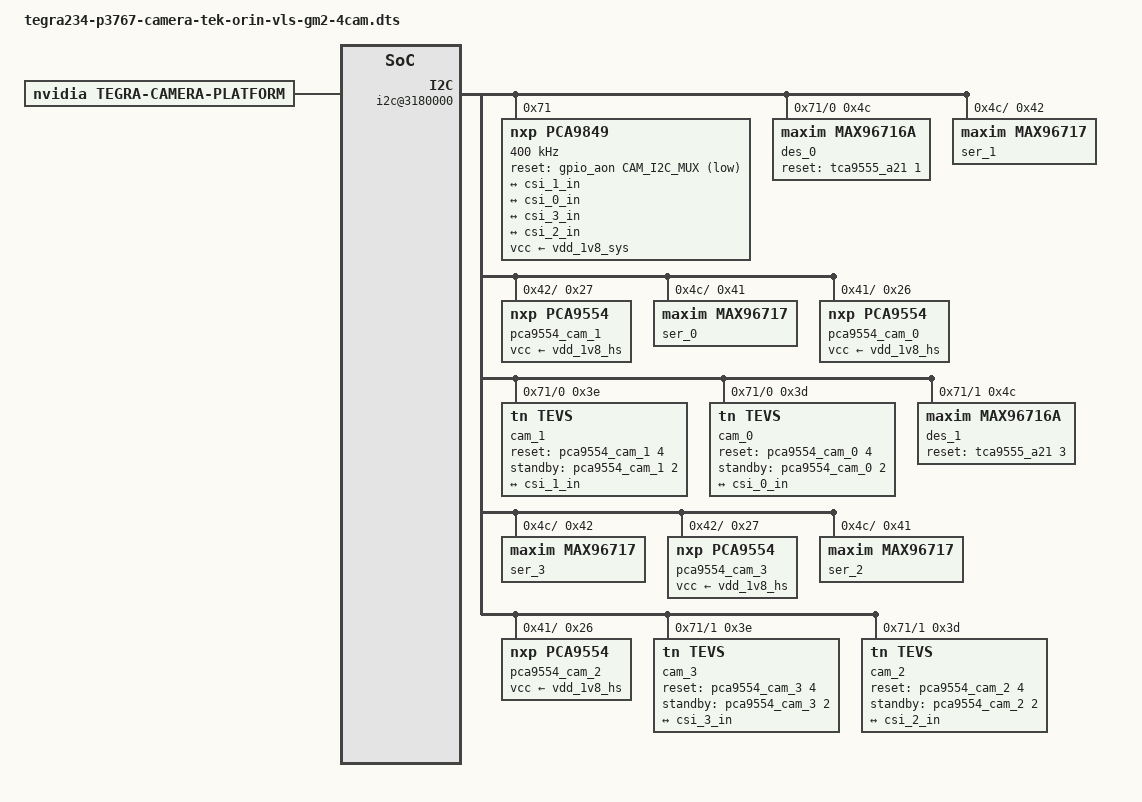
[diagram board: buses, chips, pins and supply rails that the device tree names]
// SPDX-License-Identifier: GPL-2.0-only
// SPDX-FileCopyrightText: Copyright (c) 2023, NVIDIA CORPORATION & AFFILIATES. All rights reserved.

/dts-v1/;
/plugin/;

#include <dt-bindings/tegra234-p3767-0000-common.h>

#define CAM0_RST        TEGRA234_MAIN_GPIO(H, 3)
#define CAM_I2C_MUX 	TEGRA234_AON_GPIO(CC, 3)

#define CAM_NUM					4

#define CAM0_PORT 				0
#define CAM0_LANES 				4
#define CAM0_VC_ID 				0
#define CAM0_LANES_STRING 		"4"
#define CAM0_SINTERFACE			"serial_a"
#define CAM0_LANE_POLARITY		"6"
#define CAM0_PIXEL_CLK			"200000000"
#define CAM0_SERDES_PIXEL_CLK	"625000000"
#define CAM0_DES_PHY_ID			0

#define CAM1_PORT 				0
#define CAM1_LANES 				4
#define CAM1_VC_ID 				1
#define CAM1_LANES_STRING 		"4"
#define CAM1_SINTERFACE			"serial_b"
#define CAM1_LANE_POLARITY		"6"
#define CAM1_PIXEL_CLK			"200000000"
#define CAM1_SERDES_PIXEL_CLK	"625000000"
#define CAM1_DES_PHY_ID			0

#define CAM2_PORT 				2
#define CAM2_LANES 				4
#define CAM2_VC_ID 				0
#define CAM2_LANES_STRING 		"4"
#define CAM2_SINTERFACE			"serial_c"
#define CAM2_LANE_POLARITY		"0"
#define CAM2_PIXEL_CLK			"200000000"
#define CAM2_SERDES_PIXEL_CLK	"625000000"
#define CAM2_DES_PHY_ID			0

#define CAM3_PORT 				2
#define CAM3_LANES 				4
#define CAM3_VC_ID 				1
#define CAM3_LANES_STRING 		"4"
#define CAM3_SINTERFACE			"serial_d"
#define CAM3_LANE_POLARITY		"0"
#define CAM3_PIXEL_CLK			"200000000"
#define CAM3_SERDES_PIXEL_CLK	"625000000"
#define CAM3_DES_PHY_ID			0

#define DES_LINK_FREQ			1250000000
#define TEVS_LINK_FREQ			400000000

#define TEVS_MODE_COMMON(LANES, SINTERFACE, LANE_POLARITY, PIXEL_CLK, SERDES_PIXEL_CLK)	\
	mclk_khz = "24000";							\
	num_lanes = LANES;							\
	tegra_sinterface = SINTERFACE;				\
	lane_polarity = LANE_POLARITY;				\
	phy_mode = "DPHY";							\
	discontinuous_clk = "yes";					\
	dpcm_enable = "false";						\
	cil_settletime = "0";						\
	mode_type = "yuv";							\
	pixel_phase = "uyvy";						\
	csi_pixel_bit_depth = "16";					\
	readout_orientation = "90";					\
	line_length = "3448";						\
	inherent_gain = "1";						\
	mclk_multiplier = "9.33";					\
	pix_clk_hz = PIXEL_CLK;						\
	serdes_pix_clk_hz = SERDES_PIXEL_CLK;		\
	gain_factor = "16";							\
	framerate_factor = "1000000";				\
	exposure_factor = "1000000";				\
	min_gain_val = "16";						\
	max_gain_val = "170";						\
	step_gain_val = "1";						\
	default_gain = "16";						\
	min_hdr_ratio = "1";						\
	max_hdr_ratio = "1";						\
	min_framerate = "2000000";					\
	step_framerate = "1";						\
	min_exp_time = "13";						\
	max_exp_time = "683709";					\
	step_exp_time = "1";						\
	default_exp_time = "2495";					\
	embedded_metadata_height = "0";

#define TEVS_MODES(LANES, SINTERFACE, LANE_POLARITY, PIXEL_CLK, SERDES_PIXEL_CLK)	\
	mode0 {										\
		TEVS_MODE_COMMON(LANES, SINTERFACE, LANE_POLARITY, PIXEL_CLK, SERDES_PIXEL_CLK)	\
		active_w = "3280";						\
		active_h = "2464";						\
		max_framerate = "21000000";				\
		default_framerate = "21000000";			\
	};											\
	mode1 {										\
		TEVS_MODE_COMMON(LANES, SINTERFACE, LANE_POLARITY, PIXEL_CLK, SERDES_PIXEL_CLK)	\
		active_w = "3280";						\
		active_h = "1848";						\
		max_framerate = "28000000";				\
		default_framerate = "28000000";			\
	};											\
	mode2 {										\
		TEVS_MODE_COMMON(LANES, SINTERFACE, LANE_POLARITY, PIXEL_CLK, SERDES_PIXEL_CLK)	\
		active_w = "1920";						\
		active_h = "1080";						\
		max_framerate = "30000000";				\
		default_framerate = "30000000";			\
	};											\
	mode3 {										\
		TEVS_MODE_COMMON(LANES, SINTERFACE, LANE_POLARITY, PIXEL_CLK, SERDES_PIXEL_CLK)	\
		active_w = "1640";						\
		active_h = "1232";						\
		max_framerate = "30000000";				\
		default_framerate = "30000000";			\
	};											\
	mode4 {										\
		TEVS_MODE_COMMON(LANES, SINTERFACE, LANE_POLARITY, PIXEL_CLK, SERDES_PIXEL_CLK)	\
		active_w = "1280";						\
		active_h = "720";						\
		max_framerate = "60000000";				\
		default_framerate = "60000000";			\
	};											\
	mode5 {										\
		TEVS_MODE_COMMON(LANES, SINTERFACE, LANE_POLARITY, PIXEL_CLK, SERDES_PIXEL_CLK)	\
		active_w = "640";						\
		active_h = "480";						\
		max_framerate = "60000000";				\
		default_framerate = "60000000";			\
	};

/ {
	overlay-name = "TechNexion VLS-GM2 4 Cameras with Pixel Mode";
	jetson-header-name = "Jetson 24pin CSI Connector";
	compatible = JETSON_COMPATIBLE_P3768;

	fragment-camera-tevs@0 {
		target-path = "/";
		__overlay__ {
			tegra-capture-vi  {
				num-channels = <CAM_NUM>;
				ports {
					#address-cells = <1>;
					#size-cells = <0>;

					vi_port0: port@0 {
						status = "okay";
						reg = <0>;

						vi_in0: endpoint {
							status = "okay";
							vc-id = <CAM0_VC_ID>;
							port-index = <CAM0_PORT>;
							bus-width = <CAM0_LANES>;
							remote-endpoint = <&csi_0_out>;
						};
					};

					vi_port1: port@1 {
						status = "okay";
						reg = <1>;

						vi_in1: endpoint {
							status = "okay";
							vc-id = <CAM1_VC_ID>;
							port-index = <CAM1_PORT>;
							bus-width = <CAM1_LANES>;
							remote-endpoint = <&csi_1_out>;
						};
					};

					vi_port2: port@2 {
						status = "okay";
						reg = <2>;

						vi_in2: endpoint {
							status = "okay";
							vc-id = <CAM2_VC_ID>;
							port-index = <CAM2_PORT>;
							bus-width = <CAM2_LANES>;
							remote-endpoint = <&csi_2_out>;
						};
					};

					vi_port3: port@3 {
						status = "okay";
						reg = <3>;

						vi_in3: endpoint {
							status = "okay";
							vc-id = <CAM3_VC_ID>;
							port-index = <CAM3_PORT>;
							bus-width = <CAM3_LANES>;
							remote-endpoint = <&csi_3_out>;
						};
					};
				};
			};

			tegra-camera-platform {
				compatible = "nvidia, tegra-camera-platform";

				num_csi_lanes = <8>;
				max_lane_speed = <2500000>;
				min_bits_per_pixel = <16>;
				vi_peak_byte_per_pixel = <2>;
				vi_bw_margin_pct = <67>;

				modules {
					status = "okay";
					module0 {
						status = "okay";
						badge = "tevs_rear";
						position = "rear";
						orientation = "1";
						drivernode0 {
							status = "okay";
							pcl_id = "v4l2_sensor";
							sysfs-device-tree = "/sys/firmware/devicetree/base/bus@0/i2c@3180000/pca9849@71/i2c@0/rpi22_tevs_a@3d";
						};
					};

					module1 {
						status = "okay";
						badge = "tevs_front";
						position = "front";
						orientation = "1";
						drivernode0 {
							status = "okay";
							pcl_id = "v4l2_sensor";
							sysfs-device-tree = "/sys/firmware/devicetree/base/bus@0/i2c@3180000/pca9849@71/i2c@0/rpi22_tevs_b@3e";
						};
					};

					module2 {
						status = "okay";
						badge = "tevs_left";
						position = "left";
						orientation = "1";
						drivernode0 {
							status = "okay";
							pcl_id = "v4l2_sensor";
							sysfs-device-tree = "/sys/firmware/devicetree/base/bus@0/i2c@3180000/pca9849@71/i2c@1/rpi22_tevs_c@3d";
						};
					};

					module3 {
						status = "okay";
						badge = "tevs_right";
						position = "right";
						orientation = "1";
						drivernode0 {
							status = "okay";
							pcl_id = "v4l2_sensor";
							sysfs-device-tree = "/sys/firmware/devicetree/base/bus@0/i2c@3180000/pca9849@71/i2c@1/rpi22_tevs_d@3e";
						};
					};
				};
			};

			bus@0 {
				host1x@13e00000 {
					nvcsi@15a00000 {
						#address-cells = <1>;
						#size-cells = <0>;

						num-channels = <CAM_NUM>;

						channel@0 {
							status = "okay";
							reg = <0>;
							ports {
								#address-cells = <1>;
								#size-cells = <0>;
								status = "okay";

								port@0 {
									status = "okay";
									reg = <0>;
									csi_0_in: endpoint@0 {
										status = "okay";
										port-index = <CAM0_PORT>;
										bus-width = <CAM0_LANES>;
										remote-endpoint = <&rpi22_tevs_0_out>;
									};
								};

								port@1 {
									status = "okay";
									reg = <1>;
									csi_0_out: endpoint@1 {
										status = "okay";
										remote-endpoint = <&vi_in0>;
									};
								};
							};
						};

						channel@1 {
							status = "okay";
							reg = <1>;
							ports {
								#address-cells = <1>;
								#size-cells = <0>;
								status = "okay";

								port@0 {
									status = "okay";
									reg = <0>;
									csi_1_in: endpoint@2 {
										status = "okay";
										port-index = <CAM1_PORT>;
										bus-width = <CAM1_LANES>;
										remote-endpoint = <&rpi22_tevs_1_out>;
									};
								};

								port@1 {
									status = "okay";
									reg = <1>;
									csi_1_out: endpoint@3 {
										status = "okay";
										remote-endpoint = <&vi_in1>;
									};
								};
							};
						};

						channel@2 {
							status = "okay";
							reg = <2>;
							ports {
								#address-cells = <1>;
								#size-cells = <0>;
								status = "okay";

								port@0 {
									status = "okay";
									reg = <0>;
									csi_2_in: endpoint@4 {
										status = "okay";
										port-index = <CAM2_PORT>;
										bus-width = <CAM2_LANES>;
										remote-endpoint = <&rpi22_tevs_2_out>;
									};
								};

								port@1 {
									status = "okay";
									reg = <1>;
									csi_2_out: endpoint@5 {
										status = "okay";
										remote-endpoint = <&vi_in2>;
									};
								};
							};
						};

						channel@3 {
							status = "okay";
							reg = <3>;
							ports {
								#address-cells = <1>;
								#size-cells = <0>;
								status = "okay";

								port@0 {
									status = "okay";
									reg = <0>;
									csi_3_in: endpoint@6 {
										status = "okay";
										port-index = <CAM3_PORT>;
										bus-width = <CAM3_LANES>;
										remote-endpoint = <&rpi22_tevs_3_out>;
									};
								};

								port@1 {
									status = "okay";
									reg = <1>;
									csi_3_out: endpoint@7 {
										status = "okay";
										remote-endpoint = <&vi_in3>;
									};
								};
							};
						};
					};
				};

				gpio@2200000 {
					camera-control-output-low {
						status = "disabled";
						gpio-hog;
						output-low;
						gpios = <CAM0_RST 0>;
						label = "cam0-rst";
					};
				};

				i2c@3180000 { /* cam_i2c */
					pca9849@71 {
						status = "okay";
						clock-frequency = <400000>;
						compatible = "nxp,pca9849";
						reg = <0x71>;
						#address-cells = <1>;
						#size-cells = <0>;
						reset-gpios = <&gpio_aon CAM_I2C_MUX GPIO_ACTIVE_LOW>;
						skip_mux_detect;
						vcc-supply = <&vdd_1v8_sys>;
						vcc_lp = "vcc";

						cam_i2c_0:i2c@0 {  // i2c-9
							status = "okay";
							reg = <0>;
							i2c-mux,deselect-on-exit;
							#address-cells = <1>;
							#size-cells = <0>;

							vls3@33 {
								status = "disabled";
							};

							vls3@32 {
								status = "disabled";
							};

							vls3@31 {
								status = "disabled";
							};

							vls3@30 {
								status = "disabled";
							};

							rpi22_tevs_d@4b {
								status = "disabled";
							};

							rpi22_tevs_c@4a {
								status = "disabled";
							};

							rpi22_tevs_b@49 {
								status = "disabled";
							};

							rpi22_tevs_a@48 {
								status = "disabled";
							};
						};

						cam_i2c_1:i2c@1 {   // i2c-10
							status = "okay";
							reg = <1>;
							i2c-mux,deselect-on-exit;
							#address-cells = <1>;
							#size-cells = <0>;

							vls3@33 {
								status = "disabled";
							};

							vls3@32 {
								status = "disabled";
							};

							vls3@31 {
								status = "disabled";
							};

							vls3@30 {
								status = "disabled";
							};

							rpi22_tevs_h@4b {
								status = "disabled";
							};

							rpi22_tevs_g@4a {
								status = "disabled";
							};

							rpi22_tevs_f@49 {
								status = "disabled";
							};

							rpi22_tevs_e@48 {
								status = "disabled";
							};
						};
					};
				};
			};
		};
	};
};

&cam_i2c_0 {
	des_0: gmsl-deserializer@4c {
		status = "okay";
		#address-cells = <1>;
		#size-cells = <0>;
		compatible = "maxim,max96716a";
		reg = <0x4c>;

		reset-gpios = <&tca9555_a21 1 GPIO_ACTIVE_HIGH>;

		//i2c addr alias map "serializer0, serializer1"
		i2c-addr-alias-map-local = <0x42 0x41>;
		i2c-addr-alias-map-remote = <0x40 0x40>;
		i2c-addr-alias-source-id = <0 1>;

		gpio-controller;
		#gpio-cells = <2>;
		gpio-ranges = <&des_0 0 0 12>;

		i2c-mux {
			#address-cells = <1>;
			#size-cells = <0>;

			compatible = "i2c-mux-gpio";
			i2c-parent = <&cam_i2c>;
			mux-gpios = <&gpio_aon CAM_I2C_MUX GPIO_ACTIVE_HIGH>;

			des_0_i2c_0: i2c@0 {
				#address-cells = <1>;
				#size-cells = <0>;

				reg = <0>;
			};

			des_0_i2c_1: i2c@1 {
				#address-cells = <1>;
				#size-cells = <0>;

				reg = <1>;
			};
		};

		phy@0 {
			reg = <0>;
		};

		pipe@0 {
			reg = <0>;

			maxim,phy-id = <CAM1_DES_PHY_ID>;
			maxim,link-id = <1>;
		};

		pipe@1 {
			reg = <1>;

			maxim,phy-id = <CAM0_DES_PHY_ID>;
			maxim,link-id = <0>;
		};

		channel@1 {
			reg = <1>;
			label = "des_0_ch_1";

			maxim,phy-id = <CAM1_DES_PHY_ID>;
			maxim,pipe-id = <1>;

			clock-lanes = <0>;
			data-lanes = <1 2>;
			link-frequencies = /bits/ 64 <DES_LINK_FREQ>;
		};

		channel@0 {
			reg = <0>;
			label = "des_0_ch_0";

			maxim,phy-id = <CAM0_DES_PHY_ID>;
			maxim,pipe-id = <0>;

			clock-lanes = <0>;
			data-lanes = <1 2>;
			link-frequencies = /bits/ 64 <DES_LINK_FREQ>;
		};
	};

	cam_1: rpi22_tevs_b@3e {
		compatible = "tn,tevs";
		/* I2C device address */
		reg = <0x3e>;
		status = "okay";

		reset-gpios = <&pca9554_cam_1 4 GPIO_ACTIVE_HIGH>;
		standby-gpios = <&pca9554_cam_1 2 GPIO_ACTIVE_HIGH>;

		/* V4L2 device node location */
		devnode = "video1";
		/* Physical dimensions of sensor */
		physical_w = "3.680";
		physical_h = "2.760";
		sensor_model = "tevs";
		use_sensor_mode_id = "false";

		TEVS_MODES(CAM1_LANES_STRING, CAM1_SINTERFACE, CAM1_LANE_POLARITY, CAM1_PIXEL_CLK, CAM1_SERDES_PIXEL_CLK)

		ports {
			#address-cells = <1>;
			#size-cells = <0>;
			port@0 {
				reg = <0>;

				rpi22_tevs_1_out: endpoint {
					port-index = <CAM1_PORT>;
					bus-width = <CAM1_LANES>;
					remote-endpoint = <&csi_1_in>;
					clock-noncontinuous;
					link-frequencies = /bits/ 64 <TEVS_LINK_FREQ>;
				};
			};
		};
	};

	cam_0: rpi22_tevs_a@3d {
		compatible = "tn,tevs";
		/* I2C device address */
		reg = <0x3d>;
		status = "okay";

		reset-gpios = <&pca9554_cam_0 4 GPIO_ACTIVE_HIGH>;
		standby-gpios = <&pca9554_cam_0 2 GPIO_ACTIVE_HIGH>;

		/* V4L2 device node location */
		devnode = "video0";
		/* Physical dimensions of sensor */
		physical_w = "3.680";
		physical_h = "2.760";
		sensor_model = "tevs";
		use_sensor_mode_id = "false";

		TEVS_MODES(CAM0_LANES_STRING, CAM0_SINTERFACE, CAM0_LANE_POLARITY, CAM0_PIXEL_CLK, CAM0_SERDES_PIXEL_CLK)

		ports {
			#address-cells = <1>;
			#size-cells = <0>;
			port@0 {
				reg = <0>;

				rpi22_tevs_0_out: endpoint {
					port-index = <CAM0_PORT>;
					bus-width = <CAM0_LANES>;
					remote-endpoint = <&csi_0_in>;
					clock-noncontinuous;
					link-frequencies = /bits/ 64 <TEVS_LINK_FREQ>;
				};
			};
		};
	};
};

&des_0_i2c_0 {
	ser_1: gmsl-serializer@42 {
		status = "okay";
		#address-cells = <1>;
		#size-cells = <0>;
		compatible = "maxim,max96717";
		reg = <0x42>;

		// i2c addr alias map "sensor, gpio expander"
		i2c-addr-alias-map-local = <0x3e 0x27>;
		i2c-addr-alias-map-remote = <0x48 0x25>;

		gpio-controller;
		#gpio-cells = <2>;
		gpio-ranges = <&ser_1 0 0 11>;

		pinctrl-names = "default";
		pinctrl-0 = <&ser_1_pinmux_default>;

		ser_1_pinmux_default: pinmux {
			mfp0_fsync {
				pins = "mfp0";
				function = "gpio";
				maxim,gmsl-rx = <1>;
				maxim,gmsl-rx-id = <0>;
				output-enable;
				output-low;
			};
		};

		i2c-mux {
			#address-cells = <1>;
			#size-cells = <0>;

			compatible = "i2c-mux-gpio";
			i2c-parent = <&cam_i2c>;
			mux-gpios = <&gpio_aon CAM_I2C_MUX GPIO_ACTIVE_HIGH>;

			ser_1_i2c_0: i2c@0 {
				#address-cells = <1>;
				#size-cells = <0>;

				reg = <0>;
			};
		};

		pipe@0 {
			reg = <0>;

			maxim,stream-id = <1>;
		};

		channel@0 {
			reg = <0>;
			label = "ser_1_ch_0";

			clock-lanes = <0>;
			data-lanes = <1 2 3 4>;
			clock-noncontinuous;
		};
	};
};

&ser_1_i2c_0 {
	pca9554_cam_1: pca9554@27 {
		compatible = "nxp,pca9554";
		reg = <0x27>;
		gpio-controller;
		#gpio-cells = <2>;
		gpio-line-names = "EXPOSURE_TRIG_IN",
						"FLASH_OUT",
						"INFO_TRIG_IN",
						"CAMA_SHUTTER",
						"CSI_P1_nRST",
						"PWR_TIME0",
						"PWR_TIME1",
						"3V3_EN";
		vcc-supply = <&vdd_1v8_hs>;
		vcc_lp = "vcc";
		status = "okay";
	};
};

&des_0_i2c_1 {
	ser_0: gmsl-serializer@41 {
		status = "okay";
		#address-cells = <1>;
		#size-cells = <0>;
		compatible = "maxim,max96717";
		reg = <0x41>;

		// i2c addr alias map "sensor, gpio expander"
		i2c-addr-alias-map-local = <0x3d 0x26>;
		i2c-addr-alias-map-remote = <0x48 0x25>;

		gpio-controller;
		#gpio-cells = <2>;
		gpio-ranges = <&ser_0 0 0 11>;

		pinctrl-names = "default";
		pinctrl-0 = <&ser_0_pinmux_default>;

		ser_0_pinmux_default: pinmux {
			mfp0_fsync {
				pins = "mfp0";
				function = "gpio";
				maxim,gmsl-rx = <1>;
				maxim,gmsl-rx-id = <0>;
				output-enable;
				output-low;
			};
		};

		i2c-mux {
			#address-cells = <1>;
			#size-cells = <0>;

			compatible = "i2c-mux-gpio";
			i2c-parent = <&cam_i2c>;
			mux-gpios = <&gpio_aon CAM_I2C_MUX GPIO_ACTIVE_HIGH>;

			ser_0_i2c_0: i2c@0 {
				#address-cells = <1>;
				#size-cells = <0>;

				reg = <0>;
			};
		};

		pipe@0 {
			reg = <0>;

			maxim,stream-id = <0>;
		};

		channel@0 {
			reg = <0>;
			label = "ser_0_ch_0";

			clock-lanes = <0>;
			data-lanes = <1 2 3 4>;
			clock-noncontinuous;
		};
	};
};

&ser_0_i2c_0 {
	pca9554_cam_0: pca9554@26 {
		compatible = "nxp,pca9554";
		reg = <0x26>;
		gpio-controller;
		#gpio-cells = <2>;
		gpio-line-names = "EXPOSURE_TRIG_IN",
						"FLASH_OUT",
						"INFO_TRIG_IN",
						"CAMA_SHUTTER",
						"CSI_P1_nRST",
						"PWR_TIME0",
						"PWR_TIME1",
						"3V3_EN";
		vcc-supply = <&vdd_1v8_hs>;
		vcc_lp = "vcc";
		status = "okay";
	};
};

&cam_i2c_1 {
	des_1: gmsl-deserializer@4c {
		status = "okay";
		#address-cells = <1>;
		#size-cells = <0>;
		compatible = "maxim,max96716a";
		reg = <0x4c>;

		reset-gpios = <&tca9555_a21 3 GPIO_ACTIVE_HIGH>;

		//i2c addr alias map "serializer0, serializer1"
		i2c-addr-alias-map-local = <0x42 0x41>;
		i2c-addr-alias-map-remote = <0x40 0x40>;
		i2c-addr-alias-source-id = <0 1>;

		gpio-controller;
		#gpio-cells = <2>;
		gpio-ranges = <&des_1 0 0 12>;

		i2c-mux {
			#address-cells = <1>;
			#size-cells = <0>;

			compatible = "i2c-mux-gpio";
			i2c-parent = <&cam_i2c>;
			mux-gpios = <&gpio_aon CAM_I2C_MUX GPIO_ACTIVE_HIGH>;

			des_1_i2c_0: i2c@0 {
				#address-cells = <1>;
				#size-cells = <0>;

				reg = <0>;
			};

			des_1_i2c_1: i2c@1 {
				#address-cells = <1>;
				#size-cells = <0>;

				reg = <1>;
			};
		};

		phy@0 {
			reg = <0>;
		};

		pipe@0 {
			reg = <0>;

			maxim,phy-id = <CAM3_DES_PHY_ID>;
			maxim,link-id = <1>;
		};

		pipe@1 {
			reg = <1>;

			maxim,phy-id = <CAM2_DES_PHY_ID>;
			maxim,link-id = <0>;
		};

		channel@1 {
			reg = <1>;
			label = "des_0_ch_1";

			maxim,phy-id = <CAM3_DES_PHY_ID>;
			maxim,pipe-id = <1>;

			clock-lanes = <0>;
			data-lanes = <1 2>;
			link-frequencies = /bits/ 64 <DES_LINK_FREQ>;
		};

		channel@0 {
			reg = <0>;
			label = "des_0_ch_0";

			maxim,phy-id = <CAM2_DES_PHY_ID>;
			maxim,pipe-id = <0>;

			clock-lanes = <0>;
			data-lanes = <1 2>;
			link-frequencies = /bits/ 64 <DES_LINK_FREQ>;
		};
	};

	cam_3: rpi22_tevs_d@3e {
		compatible = "tn,tevs";
		/* I2C device address */
		reg = <0x3e>;
		status = "okay";

		reset-gpios = <&pca9554_cam_3 4 GPIO_ACTIVE_HIGH>;
		standby-gpios = <&pca9554_cam_3 2 GPIO_ACTIVE_HIGH>;

		/* V4L2 device node location */
		devnode = "video3";
		/* Physical dimensions of sensor */
		physical_w = "3.680";
		physical_h = "2.760";
		sensor_model = "tevs";
		use_sensor_mode_id = "false";

		TEVS_MODES(CAM3_LANES_STRING, CAM3_SINTERFACE, CAM3_LANE_POLARITY, CAM3_PIXEL_CLK, CAM3_SERDES_PIXEL_CLK)

		ports {
			#address-cells = <1>;
			#size-cells = <0>;
			port@0 {
				reg = <0>;

				rpi22_tevs_3_out: endpoint {
					port-index = <CAM3_PORT>;
					bus-width = <CAM3_LANES>;
					remote-endpoint = <&csi_3_in>;
					clock-noncontinuous;
					link-frequencies = /bits/ 64 <TEVS_LINK_FREQ>;
				};
			};
		};
	};

	cam_2: rpi22_tevs_c@3d {
		compatible = "tn,tevs";
		/* I2C device address */
		reg = <0x3d>;
		status = "okay";

		reset-gpios = <&pca9554_cam_2 4 GPIO_ACTIVE_HIGH>;
		standby-gpios = <&pca9554_cam_2 2 GPIO_ACTIVE_HIGH>;

		/* V4L2 device node location */
		devnode = "video2";
		/* Physical dimensions of sensor */
		physical_w = "3.680";
		physical_h = "2.760";
		sensor_model = "tevs";
		use_sensor_mode_id = "false";

		TEVS_MODES(CAM2_LANES_STRING, CAM2_SINTERFACE, CAM2_LANE_POLARITY, CAM2_PIXEL_CLK, CAM2_SERDES_PIXEL_CLK)

		ports {
			#address-cells = <1>;
			#size-cells = <0>;
			port@0 {
				reg = <0>;

				rpi22_tevs_2_out: endpoint {
					port-index = <CAM2_PORT>;
					bus-width = <CAM2_LANES>;
					remote-endpoint = <&csi_2_in>;
					clock-noncontinuous;
					link-frequencies = /bits/ 64 <TEVS_LINK_FREQ>;
				};
			};
		};
	};
};

&des_1_i2c_0 {
	ser_3: gmsl-serializer@42 {
		status = "okay";
		#address-cells = <1>;
		#size-cells = <0>;
		compatible = "maxim,max96717";
		reg = <0x42>;

		// i2c addr alias map "sensor, gpio expander"
		i2c-addr-alias-map-local = <0x3e 0x27>;
		i2c-addr-alias-map-remote = <0x48 0x25>;

		gpio-controller;
		#gpio-cells = <2>;
		gpio-ranges = <&ser_3 0 0 11>;

		pinctrl-names = "default";
		pinctrl-0 = <&ser_3_pinmux_default>;

		ser_3_pinmux_default: pinmux {
			mfp0_fsync {
				pins = "mfp0";
				function = "gpio";
				maxim,gmsl-rx = <1>;
				maxim,gmsl-rx-id = <0>;
				output-enable;
				output-low;
			};
		};

		i2c-mux {
			#address-cells = <1>;
			#size-cells = <0>;

			compatible = "i2c-mux-gpio";
			i2c-parent = <&cam_i2c>;
			mux-gpios = <&gpio_aon CAM_I2C_MUX GPIO_ACTIVE_HIGH>;

			ser_3_i2c_0: i2c@0 {
				#address-cells = <1>;
				#size-cells = <0>;

				reg = <0>;
			};
		};

		pipe@0 {
			reg = <0>;

			maxim,stream-id = <1>;
		};

		channel@0 {
			reg = <0>;
			label = "ser_3_ch_0";

			clock-lanes = <0>;
			data-lanes = <1 2 3 4>;
			clock-noncontinuous;
		};
	};
};

&ser_3_i2c_0 {
	pca9554_cam_3: pca9554@27 {
		compatible = "nxp,pca9554";
		reg = <0x27>;
		gpio-controller;
		#gpio-cells = <2>;
		gpio-line-names = "EXPOSURE_TRIG_IN",
						"FLASH_OUT",
						"INFO_TRIG_IN",
						"CAMA_SHUTTER",
						"CSI_P1_nRST",
						"PWR_TIME0",
						"PWR_TIME1",
						"3V3_EN";
		vcc-supply = <&vdd_1v8_hs>;
		vcc_lp = "vcc";
		status = "okay";
	};
};

&des_1_i2c_1 {
	ser_2: gmsl-serializer@41 {
		status = "okay";
		#address-cells = <1>;
		#size-cells = <0>;
		compatible = "maxim,max96717";
		reg = <0x41>;

		// i2c addr alias map "sensor, gpio expander"
		i2c-addr-alias-map-local = <0x3d 0x26>;
		i2c-addr-alias-map-remote = <0x48 0x25>;

		gpio-controller;
		#gpio-cells = <2>;
		gpio-ranges = <&ser_2 0 0 11>;

		pinctrl-names = "default";
		pinctrl-0 = <&ser_2_pinmux_default>;

		ser_2_pinmux_default: pinmux {
			mfp0_fsync {
				pins = "mfp0";
				function = "gpio";
				maxim,gmsl-rx = <1>;
				maxim,gmsl-rx-id = <0>;
				output-enable;
				output-low;
			};
		};

		i2c-mux {
			#address-cells = <1>;
			#size-cells = <0>;

			compatible = "i2c-mux-gpio";
			i2c-parent = <&cam_i2c>;
			mux-gpios = <&gpio_aon CAM_I2C_MUX GPIO_ACTIVE_HIGH>;

			ser_2_i2c_0: i2c@0 {
				#address-cells = <1>;
				#size-cells = <0>;

				reg = <0>;
			};
		};

		pipe@0 {
			reg = <0>;

			maxim,stream-id = <0>;
		};

		channel@0 {
			reg = <0>;
			label = "ser_2_ch_0";

			clock-lanes = <0>;
			data-lanes = <1 2 3 4>;
			clock-noncontinuous;
		};
	};
};

&ser_2_i2c_0 {
	pca9554_cam_2: pca9554@26 {
		compatible = "nxp,pca9554";
		reg = <0x26>;
		gpio-controller;
		#gpio-cells = <2>;
		gpio-line-names = "EXPOSURE_TRIG_IN",
						"FLASH_OUT",
						"INFO_TRIG_IN",
						"CAMA_SHUTTER",
						"CSI_P1_nRST",
						"PWR_TIME0",
						"PWR_TIME1",
						"3V3_EN";
		vcc-supply = <&vdd_1v8_hs>;
		vcc_lp = "vcc";
		status = "okay";
	};
};
